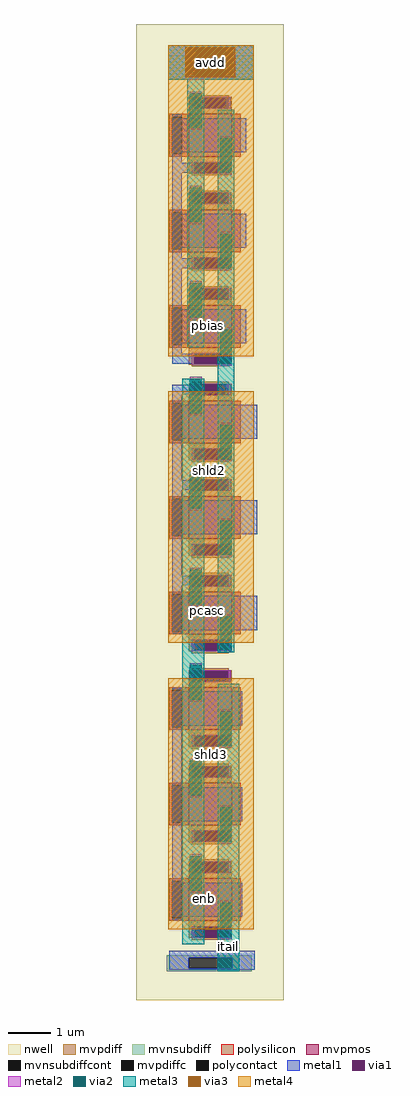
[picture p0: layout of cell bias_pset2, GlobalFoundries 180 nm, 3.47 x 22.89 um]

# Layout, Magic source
magic
tech gf180mcuD
magscale 1 10
<< nwell >>
rect 1036 -1733 1730 2844
<< mvnsubdiff >>
rect 1188 2667 1587 2698
rect 1188 2613 1288 2667
rect 1486 2613 1587 2667
rect 1188 2587 1587 2613
rect 1180 -1535 1579 -1522
rect 1180 -1585 1283 -1535
rect 1488 -1585 1579 -1535
rect 1180 -1598 1579 -1585
<< mvnsubdiffcont >>
rect 1288 2613 1486 2667
rect 1283 -1585 1488 -1535
<< metal1 >>
rect 1188 2667 1587 2744
rect 1188 2613 1288 2667
rect 1486 2613 1587 2667
rect 1188 2583 1587 2613
rect 1205 2243 1553 2402
rect 1205 2193 1251 2243
rect 1205 2147 1308 2193
rect 1205 1954 1251 2147
rect 1205 1795 1553 1954
rect 1205 1745 1251 1795
rect 1205 1699 1320 1745
rect 1205 1506 1251 1699
rect 1205 1346 1553 1506
rect 1205 1297 1251 1346
rect 1205 1251 1302 1297
rect 1205 1107 1323 1153
rect 1205 1058 1251 1107
rect 1205 898 1604 1058
rect 1205 705 1251 898
rect 1297 803 1310 849
rect 1205 659 1323 705
rect 1205 610 1251 659
rect 1205 450 1604 610
rect 1205 257 1251 450
rect 1297 355 1310 401
rect 1205 211 1323 257
rect 1205 162 1251 211
rect 1205 2 1604 162
rect 1205 -10 1251 2
rect 1205 -446 1535 -286
rect 1205 -735 1251 -446
rect 1205 -894 1535 -735
rect 1205 -1182 1251 -894
rect 1205 -1342 1535 -1182
rect 1193 -1535 1592 -1503
rect 1193 -1585 1283 -1535
rect 1488 -1585 1592 -1535
rect 1193 -1590 1592 -1585
<< metal2 >>
rect 1188 2583 1587 2744
<< metal3 >>
rect 1188 2583 1587 2744
rect 1277 1328 1355 2583
rect 1254 -1472 1355 1180
rect 1419 -103 1497 2443
rect 1419 -1598 1520 -251
<< metal4 >>
rect 1187 1287 1587 2744
rect 1187 -57 1587 1121
rect 1187 -1401 1587 -223
use bias_stack_via  bias_stack_via_0
transform 1 0 375 0 1 -11
box 922 2153 1105 2209
use bias_stack_via  bias_stack_via_1
transform 1 0 375 0 1 293
box 922 2153 1105 2209
use bias_stack_via  bias_stack_via_2
transform 1 0 375 0 1 -155
box 922 2153 1105 2209
use bias_stack_via  bias_stack_via_3
transform 1 0 375 0 1 -459
box 922 2153 1105 2209
use bias_stack_via  bias_stack_via_4
transform 1 0 375 0 1 -603
box 922 2153 1105 2209
use bias_stack_via  bias_stack_via_5
transform 1 0 375 0 1 -907
box 922 2153 1105 2209
use bias_stack_via  bias_stack_via_6
transform 1 0 375 0 1 -1051
box 922 2153 1105 2209
use bias_stack_via  bias_stack_via_7
transform 1 0 375 0 1 -1355
box 922 2153 1105 2209
use bias_stack_via  bias_stack_via_8
transform 1 0 375 0 1 -1499
box 922 2153 1105 2209
use bias_stack_via  bias_stack_via_9
transform 1 0 375 0 1 -1803
box 922 2153 1105 2209
use bias_stack_via  bias_stack_via_10
transform 1 0 375 0 1 -1947
box 922 2153 1105 2209
use bias_stack_via  bias_stack_via_11
transform 1 0 375 0 1 -2251
box 922 2153 1105 2209
use bias_stack_via  bias_stack_via_12
transform 1 0 375 0 1 -2395
box 922 2153 1105 2209
use bias_stack_via  bias_stack_via_13
transform 1 0 375 0 1 -2699
box 922 2153 1105 2209
use bias_stack_via  bias_stack_via_14
transform 1 0 375 0 1 -2843
box 922 2153 1105 2209
use bias_stack_via  bias_stack_via_15
transform 1 0 375 0 1 -3147
box 922 2153 1105 2209
use bias_stack_via  bias_stack_via_16
transform 1 0 375 0 1 -3291
box 922 2153 1105 2209
use bias_stack_via  bias_stack_via_17
transform 1 0 375 0 1 -3595
box 922 2153 1105 2209
use pfet_06v0_3RDKLZ  pfet_06v0_3RDKLZ_0 paramcells
array 0 8 -448 0 0 508
transform 0 1 1360 -1 0 -1262
box -274 -254 274 254
use via_Y6H4DQ  via_Y6H4DQ_0 paramcells
transform 1 0 1386 0 1 2664
box -82 -80 82 80
use via_Y6HE6N  via_Y6HE6N_0 paramcells
transform 1 0 1458 0 1 -1368
box -38 -80 38 100
use via_Y6HE6N  via_Y6HE6N_1
transform 1 0 1317 0 1 -1150
box -38 -80 38 100
use via_Y6HE6N  via_Y6HE6N_2
transform 1 0 1458 0 1 -920
box -38 -80 38 100
use via_Y6HE6N  via_Y6HE6N_3
transform 1 0 1317 0 1 -702
box -38 -80 38 100
use via_Y6HE6N  via_Y6HE6N_4
transform 1 0 1458 0 1 -471
box -38 -80 38 100
use via_Y6HE6N  via_Y6HE6N_5
transform 1 0 1317 0 1 -254
box -38 -80 38 100
use via_Y6HE6N  via_Y6HE6N_6
transform 1 0 1458 0 1 -23
box -38 -80 38 100
use via_Y6HE6N  via_Y6HE6N_7
transform 1 0 1317 0 1 194
box -38 -80 38 100
use via_Y6HE6N  via_Y6HE6N_8
transform 1 0 1458 0 1 424
box -38 -80 38 100
use via_Y6HE6N  via_Y6HE6N_9
transform 1 0 1317 0 1 642
box -38 -80 38 100
use via_Y6HE6N  via_Y6HE6N_10
transform 1 0 1458 0 1 873
box -38 -80 38 100
use via_Y6HE6N  via_Y6HE6N_11
transform 1 0 1317 0 1 1089
box -38 -80 38 100
use via_Y6HE6N  via_Y6HE6N_12
transform 1 0 1458 0 1 1321
box -38 -80 38 100
use via_Y6HE6N  via_Y6HE6N_13
transform 1 0 1317 0 1 1538
box -38 -80 38 100
use via_Y6HE6N  via_Y6HE6N_14
transform 1 0 1458 0 1 1769
box -38 -80 38 100
use via_Y6HE6N  via_Y6HE6N_15
transform 1 0 1317 0 1 1986
box -38 -80 38 100
use via_Y6HE6N  via_Y6HE6N_16
transform 1 0 1458 0 1 2218
box -38 -80 38 100
use via_Y6HE6N  via_Y6HE6N_17
transform 1 0 1317 0 1 2427
box -38 -80 38 100
use via_Y6HG9Q  via_Y6HG9Q_0 paramcells
transform 1 0 1384 0 1 2664
box -128 -80 128 80
<< labels >>
flabel metal3 1419 -1598 1520 -1367 0 FreeSans 738 90 0 0 itail
port 4 nsew
flabel metal1 1241 -1288 1472 -1223 0 FreeSans 738 0 0 0 enb
port 3 nsew
flabel metal4 1389 -582 1389 -582 0 FreeSans 369 0 0 0 shld3
port 10 nsew
flabel metal1 1258 56 1489 129 0 FreeSans 738 0 0 0 pcasc
port 2 nsew
flabel metal4 1382 750 1382 750 0 FreeSans 369 0 0 0 shld2
port 9 nsew
flabel metal1 1255 1401 1486 1463 0 FreeSans 738 0 0 0 pbias
port 1 nsew
flabel metal3 1269 2584 1500 2739 0 FreeSans 738 0 0 0 avdd
port 0 nsew
<< end >>

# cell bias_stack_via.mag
magic
tech gf180mcuD
magscale 1 10
<< metal1 >>
rect 922 2155 934 2207
rect 1093 2155 1105 2207
<< via1 >>
rect 934 2155 1093 2207
<< metal2 >>
rect 922 2207 1105 2209
rect 922 2155 934 2207
rect 1093 2155 1105 2207
rect 922 2153 1105 2155
<< end >>

# cell pfet_06v0_3RDKLZ: kit device pfet_05v0, w 1.0 l 1.0 m 1 nf 1 diffcov 85 polycov 100 guard 0 glc 0 grc 0 gtc 0 gbc 0 tbcov 100 rlcov 100 topc 0 botc 1 poverlap 0 doverlap 0 lmin 0.55 wmin 0.3 class mosfet full_metal 0 compatible {pfet_03v3 pfet_05v0 pfet_06v0}

# cell via_Y6H4DQ: kit device via, metalbot metal1 metaltop metal3 nxcuts 2 nycuts 2 orient default pattern none

# cell via_Y6HE6N: kit device via, metalbot metal2 metaltop metal3 nxcuts 1 nycuts 2 orient default pattern none

# cell via_Y6HG9Q: kit device via, metalbot metal3 metaltop metal4 nxcuts 3 nycuts 2 orient default pattern none
